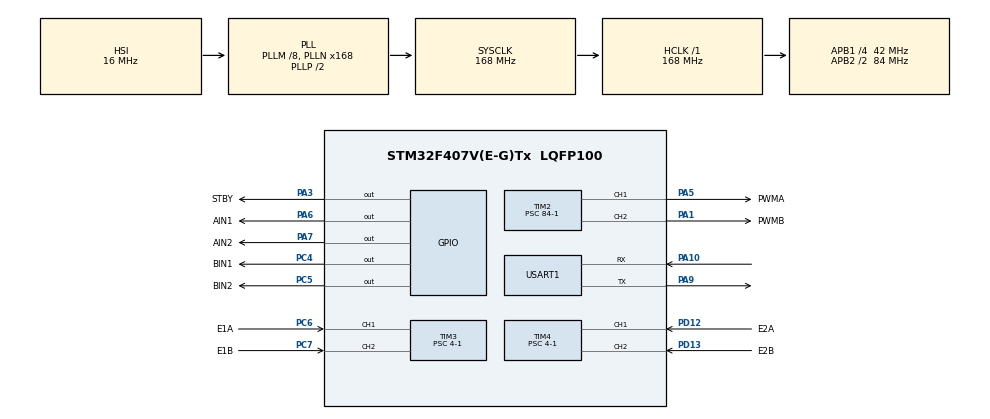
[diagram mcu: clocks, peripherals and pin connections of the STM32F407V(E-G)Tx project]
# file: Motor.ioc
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Mcu.Family=STM32F4
Mcu.Name=STM32F407V(E-G)Tx
Mcu.Package=LQFP100
NVIC.PriorityGroup=NVIC_PRIORITYGROUP_4
NVIC.TIM6_DAC_IRQn=true\:0\:0\:false\:false\:true\:true\:true\:true
PA1.GPIO_Label=PWMB
PA1.GPIO_Speed=GPIO_SPEED_FREQ_HIGH
PA1.Signal=S_TIM2_CH2
PA10.Mode=Asynchronous
PA10.Signal=USART1_RX
PA13.Mode=Serial_Wire
PA13.Signal=SYS_JTMS-SWDIO
PA14.Mode=Serial_Wire
PA14.Signal=SYS_JTCK-SWCLK
PA3.GPIO_Label=STBY
PA3.GPIO_Speed=GPIO_SPEED_FREQ_HIGH
PA3.Signal=GPIO_Output
PA5.GPIO_Label=PWMA
PA5.GPIO_Speed=GPIO_SPEED_FREQ_HIGH
PA5.Signal=S_TIM2_CH1_ETR
PA6.GPIO_Label=AIN1
PA6.GPIO_Speed=GPIO_SPEED_FREQ_HIGH
PA6.Signal=GPIO_Output
PA7.GPIO_Label=AIN2
PA7.GPIO_Speed=GPIO_SPEED_FREQ_HIGH
PA7.Signal=GPIO_Output
PA9.Mode=Asynchronous
PA9.Signal=USART1_TX
PC4.GPIO_Label=BIN1
PC4.GPIO_Speed=GPIO_SPEED_FREQ_HIGH
PC4.Signal=GPIO_Output
PC5.GPIO_Label=BIN2
PC5.GPIO_Speed=GPIO_SPEED_FREQ_HIGH
PC5.Signal=GPIO_Output
PC6.GPIO_Label=E1A
PC6.GPIO_Speed=GPIO_SPEED_FREQ_HIGH
PC6.Signal=S_TIM3_CH1
PC7.GPIO_Label=E1B
PC7.GPIO_Speed=GPIO_SPEED_FREQ_HIGH
PC7.Signal=S_TIM3_CH2
PD12.GPIO_Label=E2A
PD12.GPIO_Speed=GPIO_SPEED_FREQ_HIGH
PD12.Signal=S_TIM4_CH1
PD13.GPIO_Label=E2B
PD13.GPIO_Speed=GPIO_SPEED_FREQ_HIGH
PD13.Signal=S_TIM4_CH2
PH0-OSC_IN.Mode=HSE-External-Oscillator
PH0-OSC_IN.Signal=RCC_OSC_IN
PH1-OSC_OUT.Mode=HSE-External-Oscillator
PH1-OSC_OUT.Signal=RCC_OSC_OUT
ProjectManager.HeapSize=0x200
ProjectManager.StackSize=0x400
ProjectManager.TargetToolchain=MDK-ARM V5.32
RCC.48MHZClocksFreq_Value=84000000
RCC.AHBFreq_Value=168000000
RCC.APB1CLKDivider=RCC_HCLK_DIV4
RCC.APB1Freq_Value=42000000
RCC.APB1TimFreq_Value=84000000
RCC.APB2CLKDivider=RCC_HCLK_DIV2
RCC.APB2Freq_Value=84000000
RCC.APB2TimFreq_Value=168000000
RCC.CortexFreq_Value=168000000
RCC.HCLKFreq_Value=168000000
RCC.HSE_VALUE=25000000
RCC.HSI_VALUE=16000000
RCC.LSE_VALUE=32768
RCC.PLLM=8
RCC.PLLN=168
RCC.SYSCLKFreq_VALUE=168000000
RCC.SYSCLKSource=RCC_SYSCLKSOURCE_PLLCLK
RCC.VCOOutputFreq_Value=336000000
SH.S_TIM2_CH1_ETR.0=TIM2_CH1,PWM Generation1 CH1
SH.S_TIM2_CH2.0=TIM2_CH2,PWM Generation2 CH2
SH.S_TIM3_CH1.0=TIM3_CH1,Encoder_Interface
SH.S_TIM3_CH2.0=TIM3_CH2,Encoder_Interface
SH.S_TIM4_CH1.0=TIM4_CH1,Encoder_Interface
SH.S_TIM4_CH2.0=TIM4_CH2,Encoder_Interface
TIM2.Channel-PWM\ Generation1\ CH1=TIM_CHANNEL_1
TIM2.Channel-PWM\ Generation2\ CH2=TIM_CHANNEL_2
TIM2.Period=100-1
TIM2.Prescaler=84-1
TIM3.IC1Filter=15
TIM3.IC2Filter=15
TIM3.IC2Polarity=TIM_ICPOLARITY_RISING
TIM3.Prescaler=4-1
TIM4.IC1Filter=15
TIM4.IC2Filter=15
TIM4.IC2Polarity=TIM_ICPOLARITY_RISING
TIM4.Prescaler=4-1
TIM6.Period=10000-1
TIM6.Prescaler=840-1
USART1.VirtualMode=VM_ASYNC
VP_TIM2_VS_ClockSourceINT.Mode=Internal
VP_TIM6_VS_ClockSourceINT.Mode=Enable_Timer
board=custom

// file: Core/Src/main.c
/* USER CODE BEGIN Header */
/**
  ******************************************************************************
  * @file           : main.c
  * @brief          : Main program body
  ******************************************************************************
  * @attention
  *
  * Copyright (c) 2025 STMicroelectronics.
  * All rights reserved.
  *
  * This software is licensed under terms that can be found in the LICENSE file
  * in the root directory of this software component.
  * If no LICENSE file comes with this software, it is provided AS-IS.
  *
  ******************************************************************************
  */
/* USER CODE END Header */
#include "main.h"
#include "tim.h"
#include "usart.h"
#include "gpio.h"

/* USER CODE BEGIN Includes */
#include <stdio.h>
#include <string.h>
#include "motor_driver.h"
/* USER CODE END Includes */

/* USER CODE BEGIN PD */
#define TIMX_IT &htim6
/* USER CODE END PD */

/* USER CODE BEGIN PV */
int Speed = 0;
/* USER CODE END PV */

void SystemClock_Config(void);

/* USER CODE BEGIN 0 */
int fputc(int ch, FILE *f) {
  (void)f;  // 忽略参数，避免警告
  HAL_UART_Transmit(&huart1, (const uint8_t *)&ch, 1, 500); // 发送一个字节
  return ch;
}

void HAL_TIM_PeriodElapsedCallback(TIM_HandleTypeDef *htim)
{
  if(htim == TIMX_IT)
  {
    int32_t cnt1 = __HAL_TIM_GET_COUNTER(TIM_ENCODERA); // 获取计数器的值
    int32_t cnt2 = __HAL_TIM_GET_COUNTER(TIM_ENCODERB); // 获取计数器的值

    printf("%d,%d\r\n", cnt1, cnt2);
    __HAL_TIM_SET_COUNTER(TIM_ENCODERA, 0); // 归零计数器
    __HAL_TIM_SET_COUNTER(TIM_ENCODERB, 0); // 归零计数器
  }
}
/* USER CODE END 0 */

int main(void)
{

  /* MCU Configuration--------------------------------------------------------*/

  /* Reset of all peripherals, Initializes the Flash interface and the Systick. */
  HAL_Init();

  /* Configure the system clock */
  SystemClock_Config();

  /* Initialize all configured peripherals */
  MX_GPIO_Init();
  MX_TIM2_Init();
  MX_USART1_UART_Init();
  MX_TIM3_Init();
  MX_TIM4_Init();
  MX_TIM6_Init();
  /* USER CODE BEGIN 2 */
  HAL_TIM_Base_Start_IT(TIMX_IT);
  Motor_Init();

  /* USER CODE END 2 */

  /* Infinite loop */
  while (1)
  {

  }
}

void SystemClock_Config(void)
{
  RCC_OscInitTypeDef RCC_OscInitStruct = {0};
  RCC_ClkInitTypeDef RCC_ClkInitStruct = {0};

  /** Configure the main internal regulator output voltage
  */
  __HAL_RCC_PWR_CLK_ENABLE();
  __HAL_PWR_VOLTAGESCALING_CONFIG(PWR_REGULATOR_VOLTAGE_SCALE1);

  /** Initializes the RCC Oscillators according to the specified parameters
  * in the RCC_OscInitTypeDef structure.
  */
  RCC_OscInitStruct.OscillatorType = RCC_OSCILLATORTYPE_HSI;
  RCC_OscInitStruct.HSIState = RCC_HSI_ON;
  RCC_OscInitStruct.HSICalibrationValue = RCC_HSICALIBRATION_DEFAULT;
  RCC_OscInitStruct.PLL.PLLState = RCC_PLL_ON;
  RCC_OscInitStruct.PLL.PLLSource = RCC_PLLSOURCE_HSI;
  RCC_OscInitStruct.PLL.PLLM = 8;
  RCC_OscInitStruct.PLL.PLLN = 168;
  RCC_OscInitStruct.PLL.PLLP = RCC_PLLP_DIV2;
  RCC_OscInitStruct.PLL.PLLQ = 4;
  if (HAL_RCC_OscConfig(&RCC_OscInitStruct) != HAL_OK)
  {
    Error_Handler();
  }

  /** Initializes the CPU, AHB and APB buses clocks
  */
  RCC_ClkInitStruct.ClockType = RCC_CLOCKTYPE_HCLK|RCC_CLOCKTYPE_SYSCLK
                              |RCC_CLOCKTYPE_PCLK1|RCC_CLOCKTYPE_PCLK2;
  RCC_ClkInitStruct.SYSCLKSource = RCC_SYSCLKSOURCE_PLLCLK;
  RCC_ClkInitStruct.AHBCLKDivider = RCC_SYSCLK_DIV1;
  RCC_ClkInitStruct.APB1CLKDivider = RCC_HCLK_DIV4;
  RCC_ClkInitStruct.APB2CLKDivider = RCC_HCLK_DIV2;

  if (HAL_RCC_ClockConfig(&RCC_ClkInitStruct, FLASH_LATENCY_5) != HAL_OK)
  {
    Error_Handler();
  }
}

void Error_Handler(void)
{
  __disable_irq();
  while (1)
  {
  }
}
